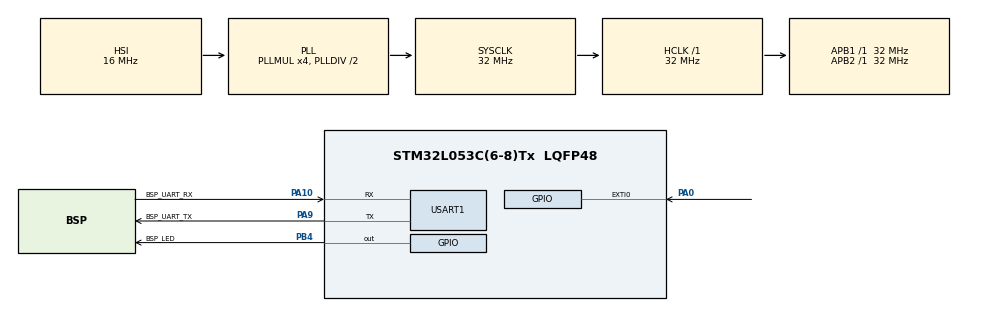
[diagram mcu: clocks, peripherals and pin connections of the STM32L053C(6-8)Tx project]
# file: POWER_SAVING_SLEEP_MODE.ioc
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Mcu.Family=STM32L0
Mcu.Name=STM32L053C(6-8)Tx
Mcu.Package=LQFP48
NVIC.EXTI0_1_IRQn=true\:0\:0\:false\:false\:true\:true\:true\:true
NVIC.USART1_IRQn=true\:0\:0\:false\:false\:true\:true\:true\:true
PA0.Signal=GPXTI0
PA10.GPIO_Label=BSP_UART_RX
PA10.Mode=Asynchronous
PA10.Signal=USART1_RX
PA13.Mode=Serial_Wire
PA13.Signal=SYS_SWDIO
PA14.Mode=Serial_Wire
PA14.Signal=SYS_SWCLK
PA9.GPIO_Label=BSP_UART_TX
PA9.Mode=Asynchronous
PA9.Signal=USART1_TX
PB4.GPIO_Label=BSP_LED
PB4.Signal=GPIO_Output
PH0-OSC_IN.Mode=HSE-External-Oscillator
PH0-OSC_IN.Signal=RCC_OSC_IN
PH1-OSC_OUT.Mode=HSE-External-Oscillator
PH1-OSC_OUT.Signal=RCC_OSC_OUT
ProjectManager.HeapSize=0x200
ProjectManager.StackSize=0x400
ProjectManager.TargetToolchain=STM32CubeIDE
RCC.AHBFreq_Value=32000000
RCC.APB1Freq_Value=32000000
RCC.APB1TimFreq_Value=32000000
RCC.APB2Freq_Value=32000000
RCC.APB2TimFreq_Value=32000000
RCC.HCLKFreq_Value=32000000
RCC.HSE_VALUE=8000000
RCC.HSI16_VALUE=16000000
RCC.HSI48MClockSelection=RCC_USBCLKSOURCE_HSI48
RCC.HSI48_VALUE=48000000
RCC.HSI_VALUE=16000000
RCC.LSE_VALUE=32768
RCC.MSI_VALUE=2097000
RCC.PLLMUL=RCC_PLLMUL_4
RCC.RTCClockSelectionVirtual=RCC_RTCCLKSOURCE_LSE
RCC.SYSCLKFreq_VALUE=32000000
RCC.SYSCLKSource=RCC_SYSCLKSOURCE_PLLCLK
RCC.VCOOutputFreq_Value=64000000
USART1.VirtualMode-Asynchronous=VM_ASYNC
board=STM32L0538-DISCO

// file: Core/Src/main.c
/* USER CODE BEGIN Header */
/**
 ******************************************************************************
 * @file           : main.c
 * @brief          : Main program body
 ******************************************************************************
 * @attention
 *
 * Copyright (c) 2023 STMicroelectronics.
 * All rights reserved.
 *
 * This software is licensed under terms that can be found in the LICENSE file
 * in the root directory of this software component.
 * If no LICENSE file comes with this software, it is provided AS-IS.
 *
 ******************************************************************************
 */
/* USER CODE END Header */
#include "main.h"

/* USER CODE BEGIN Includes */
#include <stdio.h>
#include <string.h>
/* USER CODE END Includes */

UART_HandleTypeDef huart1;

/* USER CODE BEGIN PV */
volatile uint8_t uartWakeUpFlag = 0;
volatile uint8_t extiWakeUpFlag = 0;
/* USER CODE END PV */

void SystemClock_Config(void);
static void MX_GPIO_Init(void);
static void MX_USART1_UART_Init(void);

/* USER CODE BEGIN 0 */
char *str = { 0 };
uint8_t RxData;
/* USER CODE END 0 */

int main(void)
{

  /* MCU Configuration--------------------------------------------------------*/

  /* Reset of all peripherals, Initializes the Flash interface and the Systick. */
  HAL_Init();

  /* Configure the system clock */
  SystemClock_Config();

  /* Initialize all configured peripherals */
  MX_GPIO_Init();
  MX_USART1_UART_Init();
  /* USER CODE BEGIN 2 */
	HAL_UART_Receive_IT(&huart1, &RxData, 1);
  /* USER CODE END 2 */

  /* Infinite loop */
	while (1) {

    /* USER CODE BEGIN 3 */
		str = "Going into sleep mode into two and half second...\r\n";
		HAL_UART_Transmit(&huart1, (uint8_t*) str, strlen(str), HAL_MAX_DELAY);

		HAL_GPIO_WritePin(BSP_LED_GPIO_Port, BSP_LED_Pin, GPIO_PIN_RESET);
		HAL_Delay(2500);

		/*    Suspend Tick increment to prevent wakeup by Systick interrupt.
		 Otherwise the Systick interrupt will wake up the device within 1ms (HAL time base)
		 */
		HAL_SuspendTick();

		HAL_GPIO_WritePin(BSP_LED_GPIO_Port, BSP_LED_Pin, GPIO_PIN_SET); //to indicate that the sleep mode is on

		//now enter to the sleep mode
		HAL_PWR_EnterSLEEPMode(PWR_MAINREGULATOR_ON, PWR_SLEEPENTRY_WFI); //interrupt for wake up

		HAL_ResumeTick();

		if (uartWakeUpFlag) {
			uartWakeUpFlag = 0;
			str = "Wake up from sleep by UART...\r\n";
			HAL_UART_Transmit(&huart1, (uint8_t*) str, strlen(str),
					HAL_MAX_DELAY);
		}

		if (extiWakeUpFlag) {
			extiWakeUpFlag = 0;
			str = "Wake up from sleep by EXTI...\r\n";
			HAL_UART_Transmit(&huart1, (uint8_t*) str, strlen(str),
					HAL_MAX_DELAY);
		}
		str = "Wake up from the sleep mode...\r\n";
		HAL_UART_Transmit(&huart1, (uint8_t*) str, strlen(str), HAL_MAX_DELAY);

		for (int i = 0; i < 20; i++) {
			HAL_GPIO_TogglePin(BSP_LED_GPIO_Port, BSP_LED_Pin);
			HAL_Delay(100);
		}
	}
  /* USER CODE END 3 */
}

void SystemClock_Config(void)
{
  RCC_OscInitTypeDef RCC_OscInitStruct = {0};
  RCC_ClkInitTypeDef RCC_ClkInitStruct = {0};
  RCC_PeriphCLKInitTypeDef PeriphClkInit = {0};

  /** Configure the main internal regulator output voltage
  */
  __HAL_PWR_VOLTAGESCALING_CONFIG(PWR_REGULATOR_VOLTAGE_SCALE1);

  /** Initializes the RCC Oscillators according to the specified parameters
  * in the RCC_OscInitTypeDef structure.
  */
  RCC_OscInitStruct.OscillatorType = RCC_OSCILLATORTYPE_HSI;
  RCC_OscInitStruct.HSIState = RCC_HSI_ON;
  RCC_OscInitStruct.HSICalibrationValue = RCC_HSICALIBRATION_DEFAULT;
  RCC_OscInitStruct.PLL.PLLState = RCC_PLL_ON;
  RCC_OscInitStruct.PLL.PLLSource = RCC_PLLSOURCE_HSI;
  RCC_OscInitStruct.PLL.PLLMUL = RCC_PLLMUL_4;
  RCC_OscInitStruct.PLL.PLLDIV = RCC_PLLDIV_2;
  if (HAL_RCC_OscConfig(&RCC_OscInitStruct) != HAL_OK)
  {
    Error_Handler();
  }

  /** Initializes the CPU, AHB and APB buses clocks
  */
  RCC_ClkInitStruct.ClockType = RCC_CLOCKTYPE_HCLK|RCC_CLOCKTYPE_SYSCLK
                              |RCC_CLOCKTYPE_PCLK1|RCC_CLOCKTYPE_PCLK2;
  RCC_ClkInitStruct.SYSCLKSource = RCC_SYSCLKSOURCE_PLLCLK;
  RCC_ClkInitStruct.AHBCLKDivider = RCC_SYSCLK_DIV1;
  RCC_ClkInitStruct.APB1CLKDivider = RCC_HCLK_DIV1;
  RCC_ClkInitStruct.APB2CLKDivider = RCC_HCLK_DIV1;

  if (HAL_RCC_ClockConfig(&RCC_ClkInitStruct, FLASH_LATENCY_1) != HAL_OK)
  {
    Error_Handler();
  }
  PeriphClkInit.PeriphClockSelection = RCC_PERIPHCLK_USART1;
  PeriphClkInit.Usart1ClockSelection = RCC_USART1CLKSOURCE_PCLK2;
  if (HAL_RCCEx_PeriphCLKConfig(&PeriphClkInit) != HAL_OK)
  {
    Error_Handler();
  }
}

static void MX_USART1_UART_Init(void)
{

  huart1.Instance = USART1;
  huart1.Init.BaudRate = 115200;
  huart1.Init.WordLength = UART_WORDLENGTH_8B;
  huart1.Init.StopBits = UART_STOPBITS_1;
  huart1.Init.Parity = UART_PARITY_NONE;
  huart1.Init.Mode = UART_MODE_TX_RX;
  huart1.Init.HwFlowCtl = UART_HWCONTROL_NONE;
  huart1.Init.OverSampling = UART_OVERSAMPLING_16;
  huart1.Init.OneBitSampling = UART_ONE_BIT_SAMPLE_DISABLE;
  huart1.AdvancedInit.AdvFeatureInit = UART_ADVFEATURE_NO_INIT;
  if (HAL_UART_Init(&huart1) != HAL_OK)
  {
    Error_Handler();
  }

}

static void MX_GPIO_Init(void)
{
  GPIO_InitTypeDef GPIO_InitStruct = {0};

  /* GPIO Ports Clock Enable */
  __HAL_RCC_GPIOH_CLK_ENABLE();
  __HAL_RCC_GPIOA_CLK_ENABLE();
  __HAL_RCC_GPIOB_CLK_ENABLE();

  /*Configure GPIO pin Output Level */
  HAL_GPIO_WritePin(BSP_LED_GPIO_Port, BSP_LED_Pin, GPIO_PIN_RESET);

  /*Configure GPIO pin : PA0 */
  GPIO_InitStruct.Pin = GPIO_PIN_0;
  GPIO_InitStruct.Mode = GPIO_MODE_IT_RISING;
  GPIO_InitStruct.Pull = GPIO_NOPULL;
  HAL_GPIO_Init(GPIOA, &GPIO_InitStruct);

  /*Configure GPIO pin : BSP_LED_Pin */
  GPIO_InitStruct.Pin = BSP_LED_Pin;
  GPIO_InitStruct.Mode = GPIO_MODE_OUTPUT_PP;
  GPIO_InitStruct.Pull = GPIO_NOPULL;
  GPIO_InitStruct.Speed = GPIO_SPEED_FREQ_LOW;
  HAL_GPIO_Init(BSP_LED_GPIO_Port, &GPIO_InitStruct);

  /* EXTI interrupt init*/
  HAL_NVIC_SetPriority(EXTI0_1_IRQn, 0, 0);
  HAL_NVIC_EnableIRQ(EXTI0_1_IRQn);

}

/* USER CODE BEGIN 4 */
void HAL_UART_RxHalfCpltCallback(UART_HandleTypeDef *huart) {
	uartWakeUpFlag = 1;
}

void HAL_GPIO_EXTI_Callback(uint16_t GPIO_Pin) {
	extiWakeUpFlag = 1;
	HAL_ResumeTick();
	HAL_PWR_DisableSleepOnExit();
}
/* USER CODE END 4 */

void Error_Handler(void)
{
	__disable_irq();
	while (1) {
	}
}
